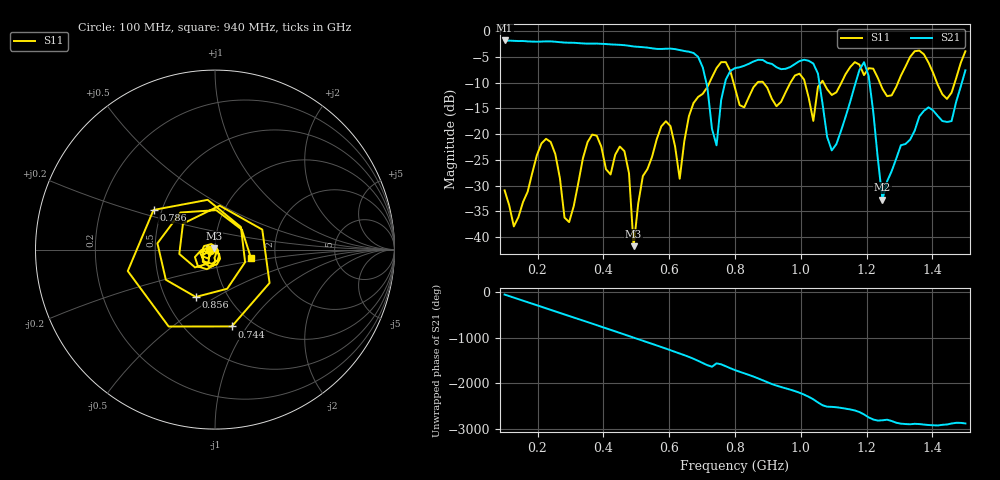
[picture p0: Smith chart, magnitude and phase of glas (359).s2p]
! NanoVNA-App
! Date: 2025-09-25 15:58:16
! Start: 100MHz Stop: 1,5GHz Points: 101
! S-Parameter data: F S11 S21 S12 S22
# Hz S RI R 50
!  Frequency  S11_Real  S11_Imag  S21_Real  S21_Imag  S12_Real  S12_Imag  S22_Real  S22_Imag
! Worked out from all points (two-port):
!   101 points, 100 MHz to 1.5 GHz, reference 50 ohm
!   highest |S21| = -1.80 dB at 100 MHz (marker M1); lowest = -32.7 dB at 1.248 GHz (marker M2)
!   |S21| within 3 dB of the highest: start of sweep to 684.4 MHz
!   lowest |S11| = -41.8 dB at 492 MHz (marker M3), VSWR 1.02, Z = 49.5 + j0.623 ohm
!   |S11| at or under -10 dB: start of sweep to 722.4 MHz; 795.5 MHz to 868.2 MHz (72.66 MHz wide, 8.74 % of centre); 886.1 MHz to 968.5 MHz (82.39 MHz wide, 8.89 % of centre) (the widest 3 of 7)
!   S12 and S22 are empty: the file has one direction only
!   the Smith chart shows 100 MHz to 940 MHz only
!   S11 on the Smith chart (normalised r, x): 100 MHz: 0.95, -0.01; 744 MHz: 0.80, -0.85; 786 MHz: 0.45, +0.24; 856 MHz: 0.71, -0.41; 940 MHz: 1.49, -0.15
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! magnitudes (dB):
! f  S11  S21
! 100 MHz  -30.9  -1.8
! 128 MHz  -38.0  -1.9
! 226 MHz  -20.9  -2.0
! 296 MHz  -37.1  -2.2
! 338 MHz  -24.7  -2.4
! 464 MHz  -23.3  -2.7
! 492 MHz  -41.8  -3.0
! 576 MHz  -18.5  -3.5
! 632 MHz  -28.7  -3.7
! 702 MHz  -12.2  -7.0
! 744 MHz  -7.2  -22.2
! 786 MHz  -7.8  -7.7
! 800 MHz  -11.0  -7.2
! 856 MHz  -10.9  -5.9
! 940 MHz  -13.7  -7.4
! 996 MHz  -8.3  -5.8
! 1.038 GHz  -17.4  -6.3
! 1.094 GHz  -12.4  -23.2
! 1.192 GHz  -8.5  -6.0
! 1.248 GHz  -11.2  -32.7
! 1.276 GHz  -12.5  -27.2
! 1.5 GHz  -3.9  -7.6
